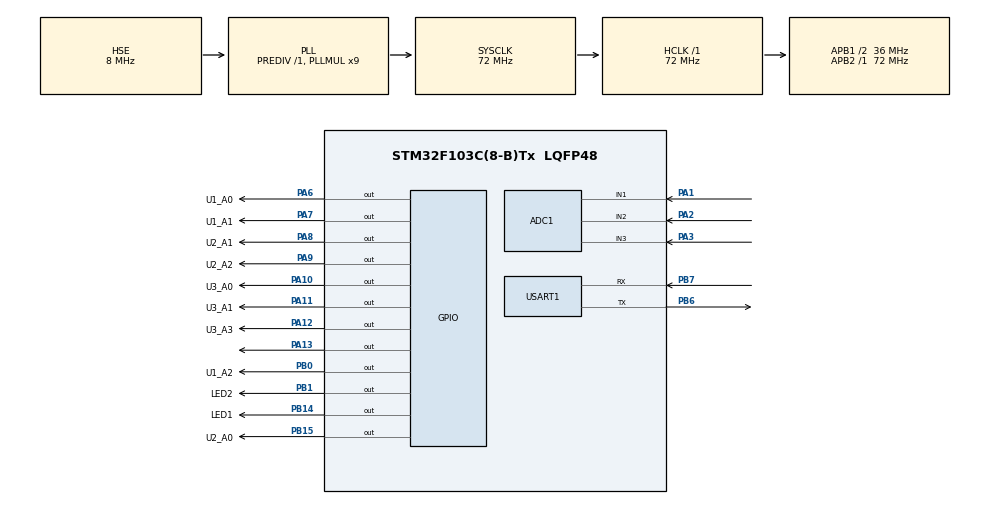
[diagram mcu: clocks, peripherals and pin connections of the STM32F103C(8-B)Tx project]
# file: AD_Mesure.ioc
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ADC1.Channel-0\#ChannelRegularConversion=ADC_CHANNEL_1
ADC1.Channel-1\#ChannelRegularConversion=ADC_CHANNEL_2
ADC1.Channel-2\#ChannelRegularConversion=ADC_CHANNEL_3
ADC1.ContinuousConvMode=ENABLE
ADC1.NbrOfConversion=3
ADC1.NbrOfConversionFlag=1
ADC1.Rank-0\#ChannelRegularConversion=1
ADC1.Rank-1\#ChannelRegularConversion=2
ADC1.Rank-2\#ChannelRegularConversion=3
ADC1.SamplingTime-0\#ChannelRegularConversion=ADC_SAMPLETIME_1CYCLE_5
ADC1.SamplingTime-1\#ChannelRegularConversion=ADC_SAMPLETIME_1CYCLE_5
ADC1.SamplingTime-2\#ChannelRegularConversion=ADC_SAMPLETIME_1CYCLE_5
ADC1.master=1
Dma.ADC1.0.Direction=DMA_PERIPH_TO_MEMORY
Dma.ADC1.0.Instance=DMA1_Channel1
Dma.ADC1.0.MemDataAlignment=DMA_MDATAALIGN_WORD
Dma.ADC1.0.MemInc=DMA_MINC_ENABLE
Dma.ADC1.0.Mode=DMA_CIRCULAR
Dma.ADC1.0.PeriphDataAlignment=DMA_PDATAALIGN_WORD
Dma.ADC1.0.PeriphInc=DMA_PINC_DISABLE
Dma.ADC1.0.Priority=DMA_PRIORITY_LOW
Dma.Request0=ADC1
Dma.Request1=USART1_RX
Dma.USART1_RX.1.Direction=DMA_PERIPH_TO_MEMORY
Dma.USART1_RX.1.Instance=DMA1_Channel5
Dma.USART1_RX.1.MemDataAlignment=DMA_MDATAALIGN_BYTE
Dma.USART1_RX.1.MemInc=DMA_MINC_ENABLE
Dma.USART1_RX.1.Mode=DMA_NORMAL
Dma.USART1_RX.1.PeriphDataAlignment=DMA_PDATAALIGN_BYTE
Dma.USART1_RX.1.PeriphInc=DMA_PINC_DISABLE
Dma.USART1_RX.1.Priority=DMA_PRIORITY_LOW
Mcu.Family=STM32F1
Mcu.Name=STM32F103C(8-B)Tx
Mcu.Package=LQFP48
NVIC.DMA1_Channel1_IRQn=true\:0\:0\:false\:false\:true
NVIC.DMA1_Channel5_IRQn=true\:0\:0\:false\:false\:true
NVIC.PriorityGroup=NVIC_PRIORITYGROUP_4
NVIC.TIM1_UP_IRQn=true\:0\:0\:false\:false\:true
NVIC.TIM3_IRQn=true\:1\:0\:true\:false\:true
NVIC.USART1_IRQn=true\:0\:0\:false\:false\:true
PA1.Signal=ADCx_IN1
PA10.GPIO_Label=U3_A0
PA10.Signal=GPIO_Output
PA11.GPIO_Label=U3_A1
PA11.Signal=GPIO_Output
PA12.GPIO_Label=U3_A3
PA12.Signal=GPIO_Output
PA13.Signal=GPIO_Output
PA2.Signal=ADCx_IN2
PA3.Signal=ADCx_IN3
PA6.GPIO_Label=U1_A0
PA6.Signal=GPIO_Output
PA7.GPIO_Label=U1_A1
PA7.Signal=GPIO_Output
PA8.GPIO_Label=U2_A1
PA8.Signal=GPIO_Output
PA9.GPIO_Label=U2_A2
PA9.Signal=GPIO_Output
PB0.GPIO_Label=U1_A2
PB0.Signal=GPIO_Output
PB1.GPIO_Label=LED2
PB1.Signal=GPIO_Output
PB14.GPIO_Label=LED1
PB14.Signal=GPIO_Output
PB15.GPIO_Label=U2_A0
PB15.Signal=GPIO_Output
PB6.Mode=Asynchronous
PB6.Signal=USART1_TX
PB7.Mode=Asynchronous
PB7.Signal=USART1_RX
PD0-OSC_IN.Mode=HSE-External-Oscillator
PD0-OSC_IN.Signal=RCC_OSC_IN
PD1-OSC_OUT.Mode=HSE-External-Oscillator
PD1-OSC_OUT.Signal=RCC_OSC_OUT
ProjectManager.HeapSize=0x200
ProjectManager.StackSize=0x400
ProjectManager.TargetToolchain=MDK-ARM V5
RCC.ADCPresc=RCC_ADCPCLK2_DIV6
RCC.AHBFreq_Value=72000000
RCC.APB1CLKDivider=RCC_HCLK_DIV2
RCC.APB1Freq_Value=36000000
RCC.APB1TimFreq_Value=72000000
RCC.APB2Freq_Value=72000000
RCC.APB2TimFreq_Value=72000000
RCC.HCLKFreq_Value=72000000
RCC.PLLMUL=RCC_PLL_MUL9
RCC.PLLSourceVirtual=RCC_PLLSOURCE_HSE
RCC.SYSCLKFreq_VALUE=72000000
RCC.SYSCLKSource=RCC_SYSCLKSOURCE_PLLCLK
RCC.USBFreq_Value=72000000
SH.ADCx_IN1.0=ADC1_IN1,IN1
SH.ADCx_IN2.0=ADC1_IN2,IN2
SH.ADCx_IN3.0=ADC1_IN3,IN3
TIM1.Period=625-1
TIM1.Prescaler=0
TIM3.Period=1000
TIM3.Prescaler=72-1
USART1.VirtualMode=VM_ASYNC
VP_SYS_VS_ND.Mode=No_Debug
VP_TIM1_VS_ClockSourceINT.Mode=Internal
VP_TIM3_VS_ClockSourceINT.Mode=Internal
board=AD_Mesure

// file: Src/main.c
/**
  ******************************************************************************
  * File Name          : main.c
  * Description        : Main program body
  ******************************************************************************
  *
  * COPYRIGHT(c) 2018 STMicroelectronics
  *
  * Redistribution and use in source and binary forms, with or without modification,
  * are permitted provided that the following conditions are met:
  *   1. Redistributions of source code must retain the above copyright notice,
  *      this list of conditions and the following disclaimer.
  *   2. Redistributions in binary form must reproduce the above copyright notice,
  *      this list of conditions and the following disclaimer in the documentation
  *      and/or other materials provided with the distribution.
  *   3. Neither the name of STMicroelectronics nor the names of its contributors
  *      may be used to endorse or promote products derived from this software
  *      without specific prior written permission.
  *
  * THIS SOFTWARE IS PROVIDED BY THE COPYRIGHT HOLDERS AND CONTRIBUTORS "AS IS"
  * AND ANY EXPRESS OR IMPLIED WARRANTIES, INCLUDING, BUT NOT LIMITED TO, THE
  * IMPLIED WARRANTIES OF MERCHANTABILITY AND FITNESS FOR A PARTICULAR PURPOSE ARE
  * DISCLAIMED. IN NO EVENT SHALL THE COPYRIGHT HOLDER OR CONTRIBUTORS BE LIABLE
  * FOR ANY DIRECT, INDIRECT, INCIDENTAL, SPECIAL, EXEMPLARY, OR CONSEQUENTIAL
  * DAMAGES (INCLUDING, BUT NOT LIMITED TO, PROCUREMENT OF SUBSTITUTE GOODS OR
  * SERVICES; LOSS OF USE, DATA, OR PROFITS; OR BUSINESS INTERRUPTION) HOWEVER
  * CAUSED AND ON ANY THEORY OF LIABILITY, WHETHER IN CONTRACT, STRICT LIABILITY,
  * OR TORT (INCLUDING NEGLIGENCE OR OTHERWISE) ARISING IN ANY WAY OUT OF THE USE
  * OF THIS SOFTWARE, EVEN IF ADVISED OF THE POSSIBILITY OF SUCH DAMAGE.
  *
  ******************************************************************************
  */
#include "main.h"
#include "stm32f1xx_hal.h"
#include "adc.h"
#include "dma.h"
#include "tim.h"
#include "usart.h"
#include "gpio.h"

/* USER CODE BEGIN Includes */

#include "hpy_adc.h"
#include "SystemState.h"
/* USER CODE END Includes */

/* USER CODE BEGIN PV */
/* Private variables ---------------------------------------------------------*/

/* USER CODE END PV */

void SystemClock_Config(void);
void Error_Handler(void);

/* USER CODE BEGIN PFP */
/* Private function prototypes -----------------------------------------------*/

/* USER CODE END PFP */

/* USER CODE BEGIN 0 */
char a=0x55;
unsigned short AD[25]={0};
short MPU_6050_Ang[3]={0};
extern float MPU_angle[3];
float t1;
char data[200]={0};
/* USER CODE END 0 */

int main(void)
{

  /* USER CODE BEGIN 1 */
	int i,j,k;

  /* USER CODE END 1 */

  /* MCU Configuration----------------------------------------------------------*/

  /* Reset of all peripherals, Initializes the Flash interface and the Systick. */
  HAL_Init();

  /* Configure the system clock */
  SystemClock_Config();

  /* Initialize all configured peripherals */
  MX_GPIO_Init();
  MX_DMA_Init();
  MX_ADC1_Init();
  MX_USART1_UART_Init();
  MX_TIM3_Init();
  MX_TIM1_Init();

  /* USER CODE BEGIN 2 */

	SystemStateInite();
	AD_Star();
	HAL_UART_Receive_DMA(&huart1,UART_RX_BUFF,100);
	__HAL_UART_ENABLE_IT(&huart1, UART_IT_IDLE);
	k=0;
  /* USER CODE END 2 */

  /* Infinite loop */
  while (1)
  {

  /* USER CODE BEGIN 3 */
		t1=GetSystemTime()+20;

		//Sent_String((unsigned char*)"Hello World!\r\n");
		for(i=0;i<8;i++)
		{
			Encode(i,
			U1_A0_GPIO_Port,U1_A0_Pin,
			U1_A1_GPIO_Port,U1_A1_Pin,
			U1_A2_GPIO_Port,U1_A2_Pin);

			Encode(i,
			U2_A0_GPIO_Port,U2_A0_Pin,
			U2_A1_GPIO_Port,U2_A1_Pin,
			U2_A2_GPIO_Port,U2_A2_Pin);

			Encode(i,
			U3_A0_GPIO_Port,U3_A0_Pin,
			U3_A1_GPIO_Port,U3_A1_Pin,
			U3_A3_GPIO_Port,U3_A3_Pin);

			HPY_Delay_us(1000);

			AD[i]=AD_Valu[0];
			AD[i+8]=AD_Valu[1];
			AD[i+16]=AD_Valu[2];

		}

		MPU_6050_Ang[0]=MPU_angle[0];
		MPU_6050_Ang[1]=MPU_angle[1];
		MPU_6050_Ang[2]=MPU_angle[2];
		//sprintf(data,"%d,%d,%d,%d,%d,%d,%d,%d,%d,%d,%d,%d,%d,%d,%d,%d,%d,%d,%d,%d,%d,%d,%d,%d\r\n",
		//AD[0],AD[1],AD[2],AD[3],AD[4],AD[5],AD[6],AD[7],AD[8],AD[9],
		//AD[10],AD[11],AD[12],AD[13],AD[14],AD[15],AD[16],AD[17],AD[18],AD[19],
		//AD[20],AD[21],MPU_6050_Ang[1],MPU_6050_Ang[2]);
		Sent_String((unsigned char*)"\xff\xff\xff");
		Sent_Data((unsigned char*)&AD,22*2);
		Sent_Data((unsigned char*)&MPU_6050_Ang,2*2);
		Sent_String((unsigned char*)"\r\n");
		//Sent_String((unsigned char*)data);
		while(t1>GetSystemTime());
		//HAL_GPIO_TogglePin(LED2_GPIO_Port,LED2_Pin);
		k++;
		if(k==25){
			HAL_GPIO_TogglePin(LED1_GPIO_Port,LED1_Pin);
			k=0;
		}

  }

  /* USER CODE END 3 */

}

/** System Clock Configuration
*/
void SystemClock_Config(void)
{

  RCC_OscInitTypeDef RCC_OscInitStruct;
  RCC_ClkInitTypeDef RCC_ClkInitStruct;
  RCC_PeriphCLKInitTypeDef PeriphClkInit;

    /**Initializes the CPU, AHB and APB busses clocks
    */
  RCC_OscInitStruct.OscillatorType = RCC_OSCILLATORTYPE_HSE;
  RCC_OscInitStruct.HSEState = RCC_HSE_ON;
  RCC_OscInitStruct.HSEPredivValue = RCC_HSE_PREDIV_DIV1;
  RCC_OscInitStruct.HSIState = RCC_HSI_ON;
  RCC_OscInitStruct.PLL.PLLState = RCC_PLL_ON;
  RCC_OscInitStruct.PLL.PLLSource = RCC_PLLSOURCE_HSE;
  RCC_OscInitStruct.PLL.PLLMUL = RCC_PLL_MUL9;
  if (HAL_RCC_OscConfig(&RCC_OscInitStruct) != HAL_OK)
  {
    Error_Handler();
  }

    /**Initializes the CPU, AHB and APB busses clocks
    */
  RCC_ClkInitStruct.ClockType = RCC_CLOCKTYPE_HCLK|RCC_CLOCKTYPE_SYSCLK
                              |RCC_CLOCKTYPE_PCLK1|RCC_CLOCKTYPE_PCLK2;
  RCC_ClkInitStruct.SYSCLKSource = RCC_SYSCLKSOURCE_PLLCLK;
  RCC_ClkInitStruct.AHBCLKDivider = RCC_SYSCLK_DIV1;
  RCC_ClkInitStruct.APB1CLKDivider = RCC_HCLK_DIV2;
  RCC_ClkInitStruct.APB2CLKDivider = RCC_HCLK_DIV1;

  if (HAL_RCC_ClockConfig(&RCC_ClkInitStruct, FLASH_LATENCY_2) != HAL_OK)
  {
    Error_Handler();
  }

  PeriphClkInit.PeriphClockSelection = RCC_PERIPHCLK_ADC;
  PeriphClkInit.AdcClockSelection = RCC_ADCPCLK2_DIV6;
  if (HAL_RCCEx_PeriphCLKConfig(&PeriphClkInit) != HAL_OK)
  {
    Error_Handler();
  }

    /**Configure the Systick interrupt time
    */
  HAL_SYSTICK_Config(HAL_RCC_GetHCLKFreq()/1000);

    /**Configure the Systick
    */
  HAL_SYSTICK_CLKSourceConfig(SYSTICK_CLKSOURCE_HCLK);

  /* SysTick_IRQn interrupt configuration */
  HAL_NVIC_SetPriority(SysTick_IRQn, 0, 0);
}

void Error_Handler(void)
{
  while(1)
  {
  }
}

/************************ (C) COPYRIGHT STMicroelectronics *****END OF FILE****/
